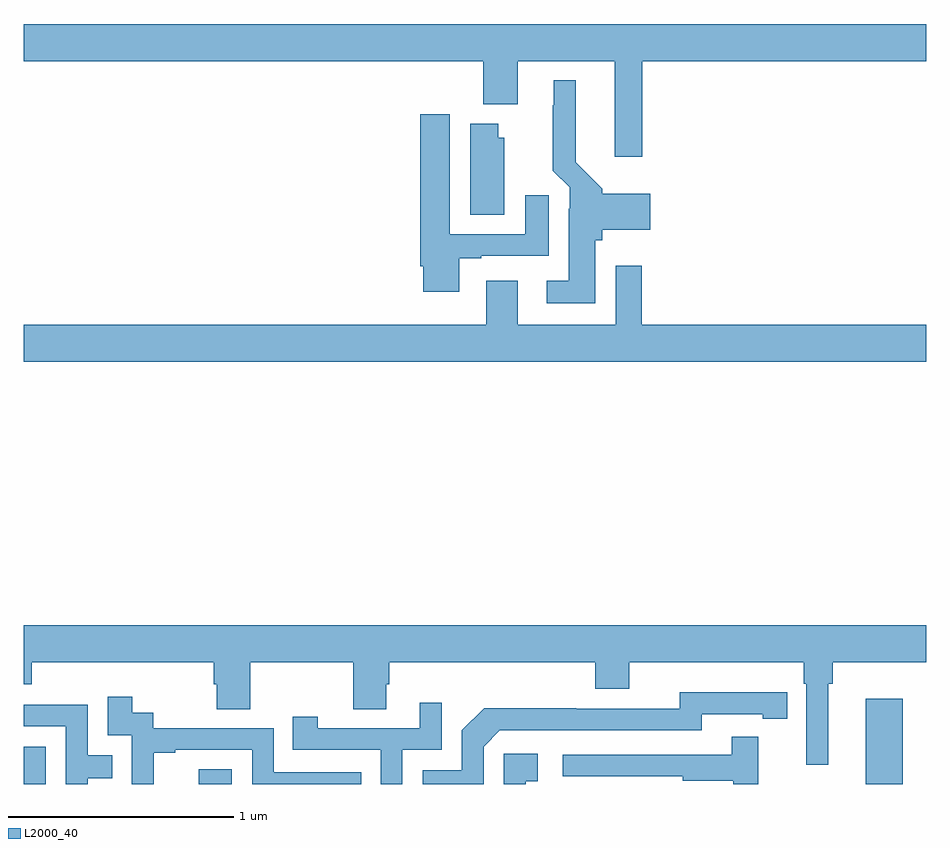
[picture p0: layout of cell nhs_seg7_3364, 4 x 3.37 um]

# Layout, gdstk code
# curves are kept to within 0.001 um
import gdstk
lib = gdstk.Library(unit=1e-6, precision=1e-09)
def R(c, l, rs):  # rectangles x0, y0, x1, y1
    for r in rs: c.add(gdstk.rectangle(r[:2], r[2:], *l))
def P(c, l, *ps):  # polygons
    for p in ps: c.add(gdstk.Polygon(p, *l))
L2000_40 = (2000, 40)

nhs_seg7_3364 = lib.new_cell('nhs_seg7_3364')
R(nhs_seg7_3364, L2000_40, [(323.775,1076,323.922,1076.065), (326.732,1076,326.896,1076.377)])
P(nhs_seg7_3364, L2000_40, [(325.742,1079.204),(327,1079.204),(327,1079.368),(323,1079.368),(323,1079.204),(325.037,1079.204),(325.037,1079.012),(325.189,1079.012),(325.189,1079.204),(325.619,1079.204),(325.619,1078.779),(325.742,1078.779)],
  [(325.534,1078.41),(325.565,1078.41),(325.565,1078.457),(325.777,1078.457),(325.777,1078.615),(325.565,1078.615),(325.565,1078.638),(325.447,1078.756),(325.447,1079.119),(325.349,1079.119),(325.349,1079.009),(325.345,1079.009),(325.345,1078.718),(325.419,1078.644),(325.419,1078.55),(325.415,1078.55),(325.415,1078.231),(325.317,1078.231),(325.317,1078.13),(325.534,1078.13)],
  [(324.931,1078.329),(325.027,1078.329),(325.027,1078.341),(325.327,1078.341),(325.327,1078.609),(325.223,1078.609),(325.223,1078.437),(324.889,1078.437),(324.889,1078.969),(324.758,1078.969),(324.758,1078.294),(324.77,1078.294),(324.77,1078.182),(324.931,1078.182)],
  [(325.129,1078.863),(325.102,1078.863),(325.102,1078.927),(324.98,1078.927),(324.98,1078.522),(325.129,1078.522)],
  [(327,1078.036),(325.739,1078.036),(325.739,1078.297),(325.623,1078.297),(325.623,1078.036),(325.189,1078.036),(325.189,1078.231),(325.049,1078.231),(325.049,1078.036),(323,1078.036),(323,1077.872),(327,1077.872)],
  [(326.566,1076.444),(326.585,1076.444),(326.585,1076.54),(327,1076.54),(327,1076.704),(323,1076.704),(323,1076.441),(323.036,1076.441),(323.036,1076.54),(323.843,1076.54),(323.843,1076.442),(323.855,1076.442),(323.855,1076.332),(324.003,1076.332),(324.003,1076.54),(324.46,1076.54),(324.46,1076.332),(324.607,1076.332),(324.607,1076.442),(324.62,1076.442),(324.62,1076.54),(325.532,1076.54),(325.532,1076.423),(325.684,1076.423),(325.684,1076.54),(326.456,1076.54),(326.456,1076.444),(326.469,1076.444),(326.469,1076.085),(326.566,1076.085)],
  [(325.038,1076.166),(325.11,1076.238),(326.004,1076.238),(326.004,1076.31),(326.276,1076.31),(326.276,1076.29),(326.384,1076.29),(326.384,1076.406),(325.908,1076.407),(325.908,1076.334),(325.448,1076.334),(325.448,1076.336),(325.04,1076.336),(324.942,1076.238),(324.942,1076.061),(324.768,1076.061),(324.768,1076),(325.038,1076)],
  [(323.576,1076.139),(323.671,1076.139),(323.671,1076.151),(324.012,1076.151),(324.012,1076),(324.497,1076),(324.497,1076.052),(324.108,1076.052),(324.108,1076.247),(323.574,1076.247),(323.574,1076.316),(323.482,1076.316),(323.482,1076.386),(323.373,1076.386),(323.373,1076.217),(323.478,1076.217),(323.478,1076),(323.576,1076)],
  [(324.678,1076.151),(324.852,1076.151),(324.852,1076.359),(324.755,1076.359),(324.755,1076.247),(324.304,1076.247),(324.304,1076.299),(324.193,1076.299),(324.193,1076.151),(324.582,1076.151),(324.582,1076),(324.678,1076)],
  [(323.283,1076.026),(323.393,1076.026),(323.393,1076.127),(323.283,1076.127),(323.283,1076.352),(323,1076.352),(323,1076.256),(323.187,1076.256),(323.187,1076),(323.283,1076)],
  [(326.255,1076.209),(326.137,1076.209),(326.137,1076.13),(325.389,1076.13),(325.389,1076.034),(325.921,1076.034),(325.921,1076.014),(326.145,1076.014),(326.145,1076),(326.255,1076)],
  [(323.097,1076.166),(323,1076.166),(323,1076.07),(323.001,1076.07),(323.001,1076),(323.097,1076)],
  [(325.226,1076.013),(325.279,1076.013),(325.279,1076.134),(325.128,1076.134),(325.128,1076),(325.226,1076)])

lib.write_gds('nhs_seg7_3364.gds')
